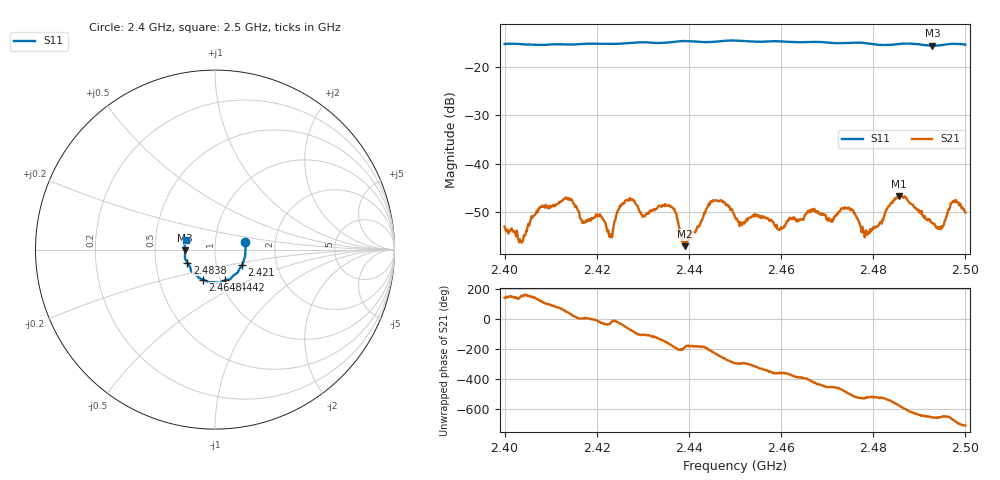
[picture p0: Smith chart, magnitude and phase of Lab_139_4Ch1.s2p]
# Hz S RI R 50
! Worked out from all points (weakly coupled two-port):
!   601 points, 2.4 GHz to 2.5 GHz, reference 50 ohm
!   highest |S21| = -46.77 dB at 2.4855 GHz (marker M1); lowest = -57.1 dB at 2.4392 GHz (marker M2)
!   lowest |S11| = -15.6 dB at 2.4928 GHz (marker M3), VSWR 1.40, Z = 35.8 - j0.344 ohm
!   |S11| at or under -10 dB: start of sweep to end of sweep
!   S12 and S22 are empty: the file has one direction only
!   S11 on the Smith chart (normalised r, x): 2.4 GHz: 1.40, +0.12; 2.421 GHz: 1.33, -0.24; 2.4442 GHz: 1.05, -0.37; 2.4648 GHz: 0.83, -0.29; 2.4838 GHz: 0.73, -0.11; 2.5 GHz: 0.72, +0.08
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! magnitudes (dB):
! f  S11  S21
! 2.4 GHz  -15.3  -53.1
! 2.4035 GHz  -15.3  -56.0
! 2.4078 GHz  -15.4  -48.9
! 2.4133 GHz  -15.3  -47.0
! 2.4167 GHz  -15.2  -51.6
! 2.421 GHz  -15.2  -51.0
! 2.4228 GHz  -15.2  -55.3
! 2.4267 GHz  -15.1  -47.6
! 2.4333 GHz  -15.0  -48.9
! 2.4367 GHz  -14.8  -49.4
! 2.4392 GHz  -14.6  -57.1
! 2.4442 GHz  -14.9  -48.8
! 2.45 GHz  -14.5  -51.1
! 2.4648 GHz  -14.9  -51.7
! 2.4667 GHz  -14.8  -49.6
! 2.475 GHz  -15.0  -49.7
! 2.4787 GHz  -15.1  -54.7
! 2.4833 GHz  -15.5  -48.9
! 2.4838 GHz  -15.4  -48.2
! 2.4855 GHz  -15.2  -46.8
! 2.4928 GHz  -15.6  -52.4
! 2.5 GHz  -15.4  -50.1
